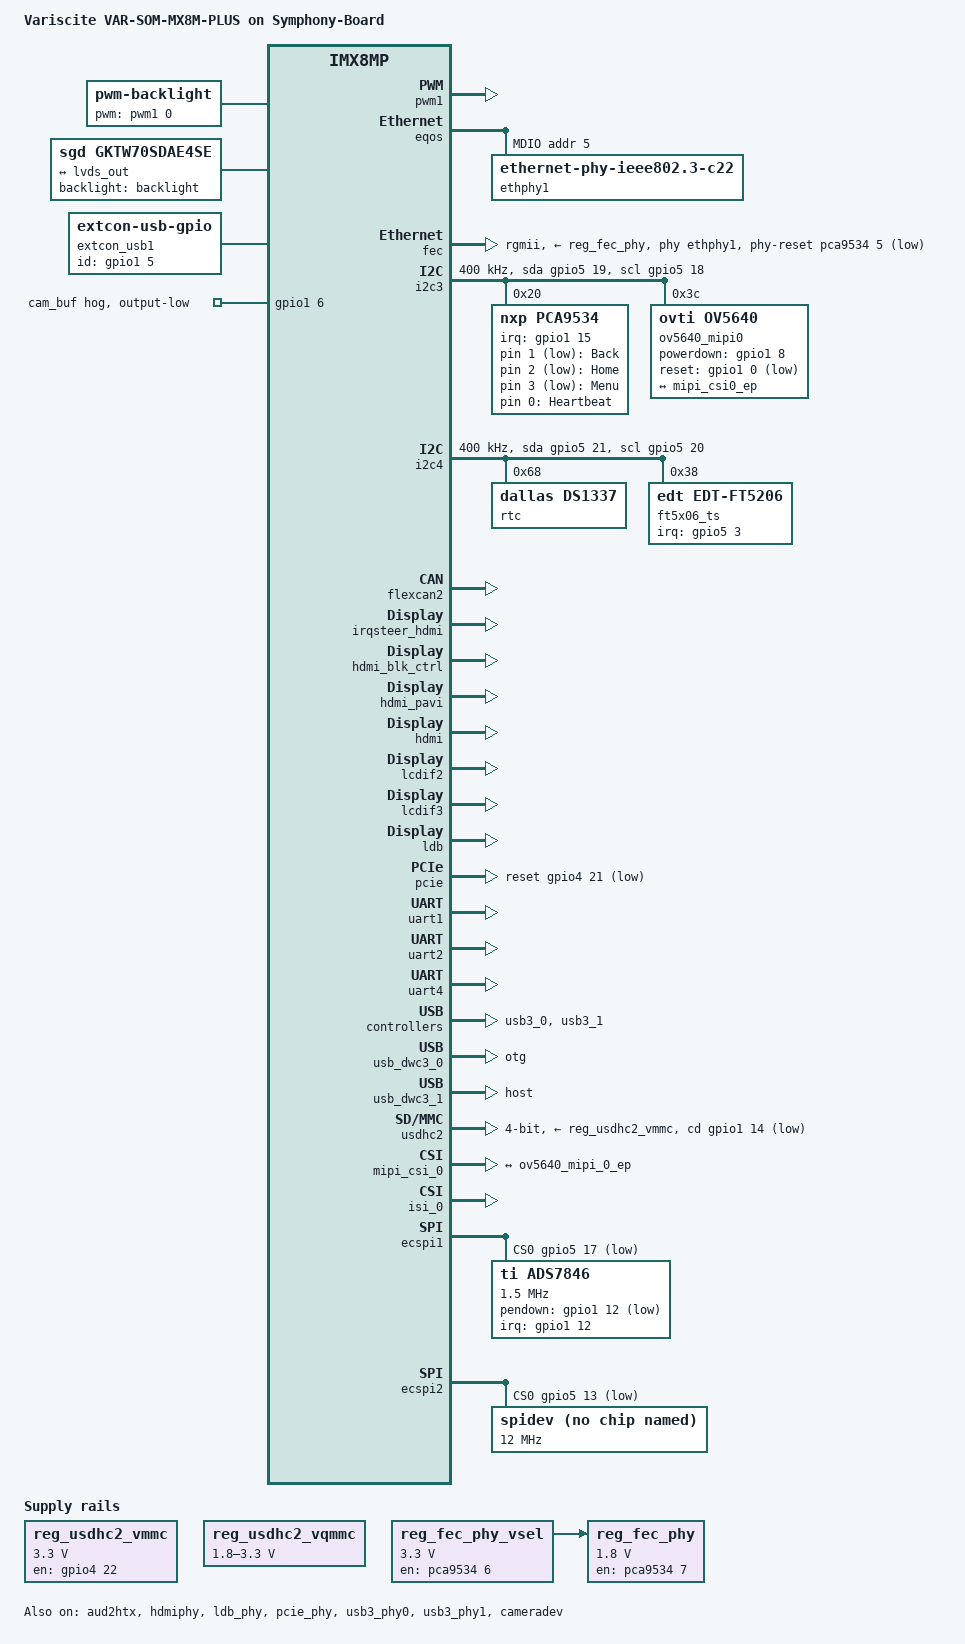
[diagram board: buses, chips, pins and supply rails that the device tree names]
// SPDX-License-Identifier: (GPL-2.0+ OR MIT)
/*
 * Copyright 2019 NXP
 * Copyright 2020-2021 Variscite Ltd.
 */

#include "imx8mp-var-som.dtsi"

/ {
	model = "Variscite VAR-SOM-MX8M-PLUS on Symphony-Board";

	chosen {
		stdout-path = &uart2;
	};

	gpio-keys {
		compatible = "gpio-keys";
		status = "okay";

		back {
			label = "Back";
			linux,code = <KEY_BACK>;
			gpios = <&pca9534 1 GPIO_ACTIVE_LOW>;
			wakeup-source;
		};

		home {
			label = "Home";
			linux,code = <KEY_HOME>;
			gpios = <&pca9534 2 GPIO_ACTIVE_LOW>;
			wakeup-source;
		};

		menu {
			label = "Menu";
			linux,code = <KEY_MENU>;
			gpios = <&pca9534 3 GPIO_ACTIVE_LOW>;
			wakeup-source;
		};
	};

	gpio-leds {
		compatible = "gpio-leds";
		status = "okay";

		heartbeat {
			label = "Heartbeat";
			linux,default-trigger = "heartbeat";
			gpios = <&pca9534 0 GPIO_ACTIVE_HIGH>;
		};
	};

	reg_usdhc2_vmmc: regulator-usdhc2-vmmc {
		compatible = "regulator-fixed";
		regulator-name = "VSD_3V3";
		regulator-min-microvolt = <3300000>;
		regulator-max-microvolt = <3300000>;
		gpio = <&gpio4 22 GPIO_ACTIVE_HIGH>;
		enable-active-high;
		startup-delay-us = <100>;
		off-on-delay-us = <12000>;
	};

	reg_usdhc2_vqmmc: regulator-usdhc2-vqmmc {
		compatible = "regulator-gpio";
		regulator-name = "VSD_VSEL";
		regulator-min-microvolt = <1800000>;
		regulator-max-microvolt = <3300000>;
		gpio = <&gpio2 12 GPIO_ACTIVE_HIGH>;
		gpios-states = <1>;
		states = <3300000 0
			  1800000 1>;
	};

	reg_fec_phy_vsel: regulator-fec-phy-vsel {
		compatible = "regulator-fixed";
		regulator-name = "fec-phy-vsel";
		regulator-min-microvolt = <3300000>;
		regulator-max-microvolt = <3300000>;
		regulator-always-on;
		gpio = <&pca9534 6 GPIO_ACTIVE_HIGH>;
		enable-active-high;
	};

	reg_fec_phy: regulator-fec-phy {
		compatible = "regulator-fixed";
		regulator-name = "fec-phy";
		vin-supply = <&reg_fec_phy_vsel>;
		regulator-min-microvolt = <1800000>;
		regulator-max-microvolt = <1800000>;
		gpio = <&pca9534 7 GPIO_ACTIVE_HIGH>;
		enable-active-high;
		regulator-always-on;
	};

	backlight: backlight {
		compatible = "pwm-backlight";
		pwms = <&pwm1 0 1000000>;
		status = "okay";

		brightness-levels = < 0  1  2  3  4  5  6  7  8  9
				     10 11 12 13 14 15 16 17 18 19
				     20 21 22 23 24 25 26 27 28 29
				     30 31 32 33 34 35 36 37 38 39
				     40 41 42 43 44 45 46 47 48 49
				     50 51 52 53 54 55 56 57 58 59
				     60 61 62 63 64 65 66 67 68 69
				     70 71 72 73 74 75 76 77 78 79
				     80 81 82 83 84 85 86 87 88 89
				     90 91 92 93 94 95 96 97 98 99
				    100>;
		default-brightness-level = <80>;
	};

	panel {
		compatible = "sgd,gktw70sdae4se", "panel-lvds";
		backlight = <&backlight>;
		width-mm = <153>;
		height-mm = <87>;
		label = "gktw70sdae4se";
		data-mapping = "jeida-24";
		status = "okay";

		panel-timing {
			clock-frequency = <33000000>;
			hactive = <800>;
			vactive = <480>;
			hback-porch = <40>;
			hfront-porch = <40>;
			vback-porch = <29>;
			vfront-porch = <13>;
			hsync-len = <48>;
			vsync-len = <3>;
			hsync-active = <0>;
			vsync-active = <0>;
			de-active = <1>;
		};

		port {
			panel_in: endpoint {
				remote-endpoint = <&lvds_out>;
			};
		};
	};

	extcon_usb1: extcon_usb1 {
		compatible = "linux,extcon-usb-gpio";
		pinctrl-names = "default";
		pinctrl-0 = <&pinctrl_extcon>;
		id-gpio = <&gpio1 5 GPIO_ACTIVE_HIGH>;
		status = "okay";
	};

	sound_hdmi: sound_hdmi {
		compatible = "fsl,imx-audio-cdnhdmi";
		model = "audio-hdmi";
		audio-cpu = <&aud2htx>;
		hdmi-out;
		constraint-rate = <44100>,
				<88200>,
				<176400>,
				<32000>,
				<48000>,
				<96000>,
				<192000>;
		status = "okay";
	};
};

&aud2htx {
	status = "okay";
};

&pwm1 {
	pinctrl-names = "default";
	pinctrl-0 = <&pinctrl_pwm1>;
	status = "okay";
};

&eqos {
	mdio {
		ethphy1: ethernet-phy@5 {
			compatible = "ethernet-phy-ieee802.3-c22";
			reg = <5>;
			at803x,eee-disabled;
			at803x,vddio-1p8v;
			eee-broken-1000t;
		};
	};
};

&fec {
	pinctrl-names = "default";
	pinctrl-0 = <&pinctrl_fec>;
	phy-mode = "rgmii";
	phy-handle = <&ethphy1>;
	phy-supply = <&reg_fec_phy>;
	phy-reset-gpios = <&pca9534 5 GPIO_ACTIVE_LOW>;
	phy-reset-duration = <10>;
	phy-reset-post-delay = <100>;
	status = "okay";
};

&flexspi {
	pinctrl-names = "default";
	pinctrl-0 = <&pinctrl_flexspi0>;
	status = "disabled";
};

&i2c3 {
	clock-frequency = <400000>;
	pinctrl-names = "default", "gpio";
	pinctrl-0 = <&pinctrl_i2c3>;
	pinctrl-1 = <&pinctrl_i2c3_gpio>;
	scl-gpios = <&gpio5 18 GPIO_ACTIVE_HIGH>;
	sda-gpios = <&gpio5 19 GPIO_ACTIVE_HIGH>;
	status = "okay";

	/* GPIO expander */
	pca9534: gpio@20 {
		compatible = "nxp,pca9534";
		reg = <0x20>;
		gpio-controller;
		pinctrl-names = "default";
		pinctrl-0 = <&pinctrl_pca9534>;
		interrupt-parent = <&gpio1>;
		interrupts = <15 IRQ_TYPE_EDGE_FALLING>;
		#gpio-cells = <2>;
		wakeup-source;
		status = "okay";

		usb3_sel_hog {
			gpio-hog;
			gpios = <4 0>;
			output-low;
			line-name = "usb3_sel";
		};
	};

	ov5640_mipi0: ov5640_mipi@3c {
		compatible = "ovti,ov5640";
		reg = <0x3c>;
		pinctrl-names = "default";
		pinctrl-0 = <&pinctrl_csi0>;
		clocks = <&clk IMX8MP_CLK_IPP_DO_CLKO2>;
		clock-names = "xclk";
/* Disabled CLKO2, since DART-MX8MP camera expansion board uses
 * its own oscillator. Enable CLK02 if your desing requres it
 */
#if 0
		assigned-clocks = <&clk IMX8MP_CLK_IPP_DO_CLKO2>;
		assigned-clock-parents = <&clk IMX8MP_CLK_24M>;
#endif
		assigned-clock-rates = <24000000>;
		csi_id = <0>;
		powerdown-gpios = <&gpio1 8 GPIO_ACTIVE_HIGH>;
		reset-gpios = <&gpio1 0 GPIO_ACTIVE_LOW>;
		mclk = <24000000>;
		mclk_source = <0>;
		mipi_csi;
		status = "okay";

		port {
			ov5640_mipi_0_ep: endpoint {
				remote-endpoint = <&mipi_csi0_ep>;
				data-lanes = <1 2>;
				clock-lanes = <0>;
			};
		};
	};
};

&i2c4 {
	clock-frequency = <400000>;
	pinctrl-names = "default", "gpio";
	pinctrl-0 = <&pinctrl_i2c4>;
	pinctrl-1 = <&pinctrl_i2c4_gpio>;
	scl-gpios = <&gpio5 20 GPIO_ACTIVE_HIGH>;
	sda-gpios = <&gpio5 21 GPIO_ACTIVE_HIGH>;
	status = "okay";

	/* DS1337 RTC module */
	rtc@68 {
		compatible = "dallas,ds1337";
		reg = <0x68>;
		status = "okay";
	};

	/* Capacitive touch controller */
	ft5x06_ts: ft5x06_ts@38 {
		compatible = "edt,edt-ft5206";
		reg = <0x38>;
		pinctrl-names = "default";
		pinctrl-0 = <&pinctrl_captouch>;
		interrupt-parent = <&gpio5>;
		interrupts = <3 IRQ_TYPE_EDGE_FALLING>;
		touchscreen-size-x = <800>;
		touchscreen-size-y = <480>;
		touchscreen-inverted-x;
		touchscreen-inverted-y;
		wakeup-source;
		status = "okay";
	};
};

&flexcan2 {
	pinctrl-names = "default";
	pinctrl-0 = <&pinctrl_flexcan2>;
	status = "okay";
};

&irqsteer_hdmi {
	status = "okay";
};

&hdmi_blk_ctrl {
	status = "okay";
};

&hdmi_pavi {
	status = "okay";
};

&hdmi {
	status = "okay";
};

&hdmiphy {
	status = "okay";
};

/* MIPI-DSI */
&lcdif1 {
	status = "disabled";
};

/* LVDS */
&lcdif2 {
	status = "okay";
};

/* HDMI */
&lcdif3 {
	status = "okay";
	thres-low  = <1 2>;	/* (FIFO * 1 / 2) */
	thres-high = <3 4>;	/* (FIFO * 3 / 4) */
};

&ldb {
	status = "okay";

	lvds-channel@0 {
		fsl,data-mapping = "jeida";
		fsl,data-width = <24>;
		status = "okay";

		port@1 {
			reg = <1>;

			lvds_out: endpoint {
				remote-endpoint = <&panel_in>;
			};
		};
	};
};

&ldb_phy {
	status = "okay";
};

&mipi_dsi {
	status = "disabled";
};

&pcie {
	pinctrl-names = "default";
	pinctrl-0 = <&pinctrl_pcie>;
	reset-gpio = <&gpio4 21 GPIO_ACTIVE_LOW>;
	ext_osc = <1>;
	clocks = <&clk IMX8MP_CLK_HSIO_ROOT>,
		 <&clk IMX8MP_CLK_PCIE_AUX>,
		 <&clk IMX8MP_CLK_HSIO_AXI>,
		 <&clk IMX8MP_CLK_PCIE_ROOT>;
	clock-names = "pcie", "pcie_aux", "pcie_phy", "pcie_bus";
	assigned-clocks = <&clk IMX8MP_CLK_HSIO_AXI>,
			  <&clk IMX8MP_CLK_PCIE_AUX>;
	assigned-clock-rates = <500000000>, <10000000>;
	assigned-clock-parents = <&clk IMX8MP_SYS_PLL2_500M>,
				 <&clk IMX8MP_SYS_PLL2_50M>;
	l1ss-disabled;
	status = "okay";
};

&pcie_ep {
	pinctrl-names = "default";
	pinctrl-0 = <&pinctrl_pcie>;
	ext_osc = <1>;
	clocks = <&clk IMX8MP_CLK_HSIO_ROOT>,
		 <&clk IMX8MP_CLK_PCIE_AUX>,
		 <&clk IMX8MP_CLK_HSIO_AXI>,
		 <&clk IMX8MP_CLK_PCIE_ROOT>;
	clock-names = "pcie", "pcie_aux", "pcie_phy", "pcie_bus";
	assigned-clocks = <&clk IMX8MP_CLK_HSIO_AXI>,
			  <&clk IMX8MP_CLK_PCIE_AUX>;
	assigned-clock-rates = <500000000>, <10000000>;
	assigned-clock-parents = <&clk IMX8MP_SYS_PLL2_500M>,
				 <&clk IMX8MP_SYS_PLL2_50M>;
	status = "disabled";
};

&pcie_phy {
	ext_osc = <1>;
	status = "okay";
};

/* Header */
&uart1 {
	pinctrl-names = "default";
	pinctrl-0 = <&pinctrl_uart1>;
	status = "okay";
};

/* Console */
&uart2 {
	pinctrl-names = "default";
	pinctrl-0 = <&pinctrl_uart2>;
	status = "okay";
};

/* Header */
&uart4 {
	pinctrl-names = "default";
	pinctrl-0 = <&pinctrl_uart4>;
	status = "okay";
};

&usb3_phy0 {
	fsl,phy-tx-vref-tune = <0xe>;
	fsl,phy-tx-preemp-amp-tune = <3>;
	fsl,phy-tx-vboost-level = <5>;
	fsl,phy-comp-dis-tune = <7>;
	fsl,pcs-tx-deemph-3p5db = <0x21>;
	fsl,phy-pcs-tx-swing-full = <0x7f>;
	status = "okay";
};

&usb3_0 {
	status = "okay";
};

&usb_dwc3_0 {
	dr_mode = "otg";
	hnp-disable;
	srp-disable;
	adp-disable;
	extcon = <&extcon_usb1>;
	status = "okay";
};

&usb3_phy1 {
	fsl,phy-tx-preemp-amp-tune = <3>;
	fsl,phy-tx-vref-tune = <0xb>;
	status = "okay";
};

&usb3_1 {
	status = "okay";
};

&usb_dwc3_1 {
	dr_mode = "host";
	status = "okay";
};

&usdhc2 {
	pinctrl-names = "default", "state_100mhz", "state_200mhz";
	pinctrl-0 = <&pinctrl_usdhc2>, <&pinctrl_usdhc2_gpio>;
	pinctrl-1 = <&pinctrl_usdhc2_100mhz>, <&pinctrl_usdhc2_gpio>;
	pinctrl-2 = <&pinctrl_usdhc2_200mhz>, <&pinctrl_usdhc2_gpio>;
	cd-gpios = <&gpio1 14 GPIO_ACTIVE_LOW>;
	vmmc-supply = <&reg_usdhc2_vmmc>;
	vqmmc-supply = <&reg_usdhc2_vqmmc>;
	bus-width = <4>;
	status = "okay";
};

&mipi_csi_0 {
	#address-cells = <1>;
	#size-cells = <0>;
	status = "okay";

	port@0 {
		reg = <0>;
		mipi_csi0_ep: endpoint {
			remote-endpoint = <&ov5640_mipi_0_ep>;
			data-lanes = <2>;
			csis-hs-settle = <13>;
			csis-clk-settle = <2>;
			csis-wclk;
		};
	};
};

&mipi_csi_1 {
	status = "disabled";
};

&cameradev {
	status = "okay";
};

&isi_0 {
	status = "okay";

	cap_device {
		status = "okay";
	};

	m2m_device {
		status = "okay";
	};
};

&isi_1 {
	status = "disabled";
};

&ecspi1 {
	pinctrl-names = "default";
	pinctrl-0 = <&pinctrl_ecspi1>;
	cs-gpios = <&gpio5 17 GPIO_ACTIVE_LOW>;
	status = "okay";

	/* Resistive touch controller */
	ads7846@0 {
		compatible = "ti,ads7846";
		reg = <0>;
		pinctrl-names = "default";
		pinctrl-0 = <&pinctrl_restouch>;
		interrupt-parent = <&gpio1>;
		interrupts = <12 IRQ_TYPE_EDGE_FALLING>;
		spi-max-frequency = <1500000>;
		pendown-gpio = <&gpio1 12 GPIO_ACTIVE_LOW>;
		ti,x-min = /bits/ 16 <125>;
		ti,x-max = /bits/ 16 <4008>;
		ti,y-min = /bits/ 16 <282>;
		ti,y-max = /bits/ 16 <3864>;
		ti,x-plate-ohms = /bits/ 16 <180>;
		ti,pressure-max = /bits/ 16 <255>;
		ti,debounce-max = /bits/ 16 <10>;
		ti,debounce-tol = /bits/ 16 <3>;
		ti,debounce-rep = /bits/ 16 <1>;
		ti,settle-delay-usec = /bits/ 16 <150>;
		ti,keep-vref-on;
		wakeup-source;
		status = "okay";
	};
};

&ecspi2 {
	pinctrl-names = "default";
	pinctrl-0 = <&pinctrl_ecspi2>;
	cs-gpios = <&gpio5 13 GPIO_ACTIVE_LOW>;
	status = "okay";

	spidev@0 {
		compatible = "var,spidev";
		reg = <0>;
		spi-max-frequency = <12000000>;
		status = "okay";
	};
};

&gpio1 {
	cam_buf_hog {
		gpio-hog;
		gpios = <6 0>;
		output-low;
		line-name = "cam_buf";
	};
};

&iomuxc {
	pinctrl-names = "default";
	pinctrl-0 = <&pinctrl_hog>;

	pinctrl_hog: hoggrp {
		fsl,pins = <
			MX8MP_IOMUXC_HDMI_DDC_SCL__HDMIMIX_HDMI_SCL			0x400001c2
			MX8MP_IOMUXC_HDMI_DDC_SDA__HDMIMIX_HDMI_SDA			0x400001c2
			MX8MP_IOMUXC_HDMI_HPD__HDMIMIX_HDMI_HPD				0x40000010
			MX8MP_IOMUXC_HDMI_CEC__HDMIMIX_HDMI_CEC				0x40000010
		>;
	};

	pinctrl_pwm1: pwm1grp {
		fsl,pins = <
			MX8MP_IOMUXC_SPDIF_EXT_CLK__PWM1_OUT				0x116
		>;
	};

	pinctrl_fec: fecgrp {
		fsl,pins = <
			MX8MP_IOMUXC_SAI1_RXD4__ENET1_RGMII_RD0				0x90
			MX8MP_IOMUXC_SAI1_RXD5__ENET1_RGMII_RD1				0x90
			MX8MP_IOMUXC_SAI1_RXD6__ENET1_RGMII_RD2				0x90
			MX8MP_IOMUXC_SAI1_RXD7__ENET1_RGMII_RD3				0x90
			MX8MP_IOMUXC_SAI1_TXC__ENET1_RGMII_RXC				0x90
			MX8MP_IOMUXC_SAI1_TXFS__ENET1_RGMII_RX_CTL			0x90
			MX8MP_IOMUXC_SAI1_TXD0__ENET1_RGMII_TD0				0x00
			MX8MP_IOMUXC_SAI1_TXD1__ENET1_RGMII_TD1				0x00
			MX8MP_IOMUXC_SAI1_TXD2__ENET1_RGMII_TD2				0x00
			MX8MP_IOMUXC_SAI1_TXD3__ENET1_RGMII_TD3				0x00
			MX8MP_IOMUXC_SAI1_TXD4__ENET1_RGMII_TX_CTL			0x00
			MX8MP_IOMUXC_SAI1_TXD5__ENET1_RGMII_TXC				0x00
		>;
	};

	pinctrl_flexspi0: flexspi0grp {
		fsl,pins = <
			MX8MP_IOMUXC_NAND_ALE__FLEXSPI_A_SCLK				0x1c2
			MX8MP_IOMUXC_NAND_CE0_B__FLEXSPI_A_SS0_B			0x82
			MX8MP_IOMUXC_NAND_DATA00__FLEXSPI_A_DATA00			0x82
			MX8MP_IOMUXC_NAND_DATA01__FLEXSPI_A_DATA01			0x82
			MX8MP_IOMUXC_NAND_DATA02__FLEXSPI_A_DATA02			0x82
			MX8MP_IOMUXC_NAND_DATA03__FLEXSPI_A_DATA03			0x82
		>;
	};

	pinctrl_i2c3: i2c3grp {
		fsl,pins = <
			MX8MP_IOMUXC_I2C3_SCL__I2C3_SCL					0x400001c2
			MX8MP_IOMUXC_I2C3_SDA__I2C3_SDA					0x400001c2
		>;
	};

	pinctrl_i2c4: i2c4grp {
		fsl,pins = <
			MX8MP_IOMUXC_I2C4_SCL__I2C4_SCL					0x400001c2
			MX8MP_IOMUXC_I2C4_SDA__I2C4_SDA					0x400001c2
		>;
	};

	pinctrl_i2c3_gpio: i2c3gpiogrp {
		fsl,pins = <
			MX8MP_IOMUXC_I2C3_SCL__GPIO5_IO18				0x1c2
			MX8MP_IOMUXC_I2C3_SDA__GPIO5_IO19				0x1c2
		>;
	};

	pinctrl_i2c4_gpio: i2c4gpiogrp {
		fsl,pins = <
			MX8MP_IOMUXC_I2C4_SCL__GPIO5_IO20				0x1c2
			MX8MP_IOMUXC_I2C4_SDA__GPIO5_IO21				0x1c2
		>;
	};

	pinctrl_uart1: uart1grp {
		fsl,pins = <
			MX8MP_IOMUXC_UART1_RXD__UART1_DCE_RX				0x40
			MX8MP_IOMUXC_UART1_TXD__UART1_DCE_TX				0x40
		>;
	};

	pinctrl_uart2: uart2grp {
		fsl,pins = <
			MX8MP_IOMUXC_UART2_RXD__UART2_DCE_RX				0x40
			MX8MP_IOMUXC_UART2_TXD__UART2_DCE_TX				0x40
		>;
	};

	pinctrl_uart3: uart3grp {
		fsl,pins = <
			MX8MP_IOMUXC_ECSPI1_SCLK__UART3_DCE_RX				0x140
			MX8MP_IOMUXC_ECSPI1_MOSI__UART3_DCE_TX				0x140
			MX8MP_IOMUXC_ECSPI1_MISO__UART3_DCE_CTS				0x140
			MX8MP_IOMUXC_ECSPI1_SS0__UART3_DCE_RTS				0x140
		>;
	};

	pinctrl_uart4: uart4grp {
		fsl,pins = <
			MX8MP_IOMUXC_UART4_RXD__UART4_DCE_RX				0x40
			MX8MP_IOMUXC_UART4_TXD__UART4_DCE_TX				0x40
		>;
	};

	pinctrl_usdhc2_gpio: usdhc2grp-gpio {
		fsl,pins = <
			MX8MP_IOMUXC_GPIO1_IO14__GPIO1_IO14 				0x1c4
			MX8MP_IOMUXC_SAI2_RXC__GPIO4_IO22				0x10
			MX8MP_IOMUXC_SD2_CD_B__GPIO2_IO12				0xc0
		>;
	};

	pinctrl_usdhc2: usdhc2grp {
		fsl,pins = <
			MX8MP_IOMUXC_SD2_CLK__USDHC2_CLK				0x190
			MX8MP_IOMUXC_SD2_CMD__USDHC2_CMD				0x1d0
			MX8MP_IOMUXC_SD2_DATA0__USDHC2_DATA0				0x1d0
			MX8MP_IOMUXC_SD2_DATA1__USDHC2_DATA1				0x1d0
			MX8MP_IOMUXC_SD2_DATA2__USDHC2_DATA2				0x1d0
			MX8MP_IOMUXC_SD2_DATA3__USDHC2_DATA3				0x1d0
		>;
	};

	pinctrl_usdhc2_100mhz: usdhc2grp-100mhz {
		fsl,pins = <
			MX8MP_IOMUXC_SD2_CLK__USDHC2_CLK				0x194
			MX8MP_IOMUXC_SD2_CMD__USDHC2_CMD				0x1d4
			MX8MP_IOMUXC_SD2_DATA0__USDHC2_DATA0				0x1d4
			MX8MP_IOMUXC_SD2_DATA1__USDHC2_DATA1				0x1d4
			MX8MP_IOMUXC_SD2_DATA2__USDHC2_DATA2				0x1d4
			MX8MP_IOMUXC_SD2_DATA3__USDHC2_DATA3				0x1d4
		>;
	};

	pinctrl_usdhc2_200mhz: usdhc2grp-200mhz {
		fsl,pins = <
			MX8MP_IOMUXC_SD2_CLK__USDHC2_CLK				0x196
			MX8MP_IOMUXC_SD2_CMD__USDHC2_CMD				0x1d6
			MX8MP_IOMUXC_SD2_DATA0__USDHC2_DATA0				0x1d6
			MX8MP_IOMUXC_SD2_DATA1__USDHC2_DATA1				0x1d6
			MX8MP_IOMUXC_SD2_DATA2__USDHC2_DATA2				0x1d6
			MX8MP_IOMUXC_SD2_DATA3__USDHC2_DATA3				0x1d6
		>;
	};

	pinctrl_ecspi1: ecspi1grp {
		fsl,pins = <
			MX8MP_IOMUXC_I2C1_SCL__ECSPI1_SCLK				0x12
			MX8MP_IOMUXC_I2C1_SDA__ECSPI1_MOSI				0x12
			MX8MP_IOMUXC_I2C2_SCL__ECSPI1_MISO 				0x12
			MX8MP_IOMUXC_I2C2_SDA__GPIO5_IO17				0x12
		>;
	};

	pinctrl_ecspi2: ecspi12grp {
		fsl,pins = <
			MX8MP_IOMUXC_ECSPI2_SCLK__ECSPI2_SCLK				0x12
			MX8MP_IOMUXC_ECSPI2_MOSI__ECSPI2_MOSI				0x12
			MX8MP_IOMUXC_ECSPI2_MISO__ECSPI2_MISO 				0x12
			MX8MP_IOMUXC_ECSPI2_SS0__GPIO5_IO13				0x12
		>;
	};

	pinctrl_captouch: captouchgrp {
		fsl,pins = <
			MX8MP_IOMUXC_SPDIF_TX__GPIO5_IO03 				0x16
		>;
	};

	pinctrl_restouch: restouchgrp {
		fsl,pins = <
			MX8MP_IOMUXC_GPIO1_IO12__GPIO1_IO12				0xc0
		>;
	};

	pinctrl_extcon: extcongrp {
		fsl,pins = <
			MX8MP_IOMUXC_GPIO1_IO05__GPIO1_IO05				0x10
		>;
	};

	pinctrl_flexcan2: flexcan2grp {
		fsl,pins = <
			MX8MP_IOMUXC_UART3_RXD__CAN2_TX					0x154
			MX8MP_IOMUXC_UART3_TXD__CAN2_RX					0x154
		>;
	};

	pinctrl_pcie: pciegrp {
		fsl,pins = <
			MX8MP_IOMUXC_SAI2_RXFS__GPIO4_IO21				0x40
		>;
	};

	pinctrl_csi0: csi0grp {
		fsl,pins = <
			MX8MP_IOMUXC_GPIO1_IO00__GPIO1_IO00				0x10
			MX8MP_IOMUXC_GPIO1_IO08__GPIO1_IO08				0x10
			>;
	};

	pinctrl_csi1: csi1grp {
		fsl,pins = <
			MX8MP_IOMUXC_SAI1_RXD7__GPIO4_IO09				0x10
			MX8MP_IOMUXC_SAI1_TXD0__GPIO4_IO12				0x10
			>;
	};

	pinctrl_pca9534: pca9534grp {
		fsl,pins = <
			MX8MP_IOMUXC_GPIO1_IO15__GPIO1_IO15				0xc0
		>;
	};
};
